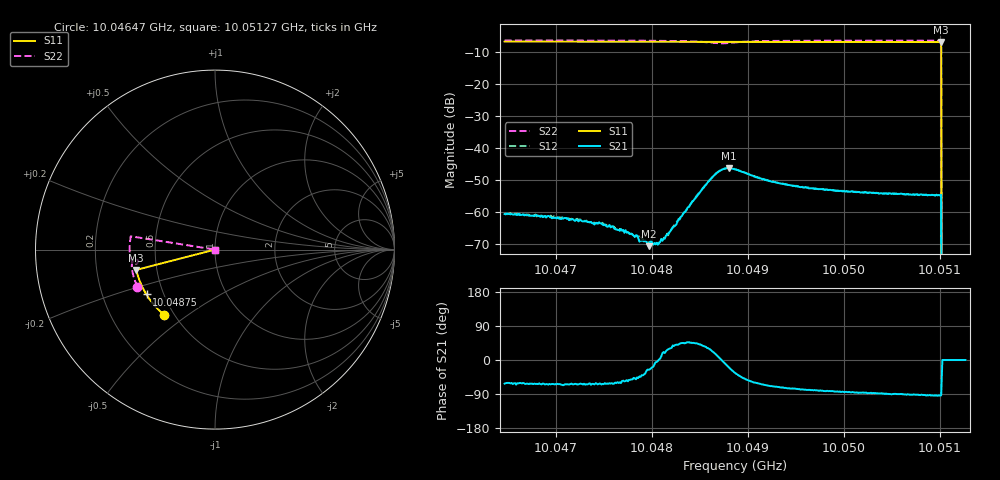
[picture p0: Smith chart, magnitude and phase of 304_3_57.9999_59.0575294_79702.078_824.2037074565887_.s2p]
#  HZ  S  RI  R  50.00
! Rohde & Schwarz Vector Network Analyzer
! Rohde-Schwarz,ZNB20-2Port,1311601062101988,3.16
! Created: UTC 3/21/2024, 1:03:55 AM
! freq[Hz]  re:S11  im:S11  re:S21  im:S21  re:S12  im:S12  re:S22  im:S22
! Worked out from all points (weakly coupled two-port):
!   401 points, 10.04647 GHz to 10.05127 GHz, reference 50 ohm
!   highest |S21| = -46.24 dB at 10.04881 GHz (marker M1); lowest = -70.6 dB at 10.04797 GHz (marker M2)
!   lowest |S11| = -6.9 dB at 10.05101 GHz (marker M3), VSWR 2.66, Z = 19.1 - j5.43 ohm
!   |S11| at or under -10 dB: 10.05101 GHz to end of sweep
!   |S22| runs from - to -6.4 dB; largest |S21 - S12| = 0.00034
!   S11 on the Smith chart (normalised r, x): 10.04647 GHz: 0.44, -0.41; 10.04875 GHz: 0.40, -0.25; 10.05127 GHz: 1.00, +0.00
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1.0046467e10  -0.2839 -0.3632  0.000434 -0.000832  0.000511 -0.000793  -0.4326 -0.2074
1.0046911e10  -0.306 -0.3437  0.000383 -0.000773  0.000437 -0.000743  -0.4439 -0.1797
1.0047271e10  -0.3228 -0.3268  0.000329 -0.000651  0.000377 -0.000675  -0.4518 -0.1561
1.0047451e10  -0.3308 -0.3181  0.000323 -0.000616  0.000343 -0.000576  -0.4554 -0.1443
1.0047703e10  -0.3418 -0.3055  0.000307 -0.000431  0.000295 -0.000419  -0.4594 -0.1267
1.0047871e10  -0.3489 -0.2968  0.000253 -0.000237  0.000324 -0.000289  -0.4619 -0.1145
1.0047967e10  -0.3528 -0.292  0.000266 -0.000129  0.000318 -0.000124  -0.4627 -0.1074
1.0048039e10  -0.3557 -0.2882  0.000314 -3.33e-05  0.000327 -2.11e-05  -0.4632 -0.1016
1.0048075e10  -0.3571 -0.2863  0.000327 6.78e-06  0.000342 4.26e-05  -0.4635 -0.0987
1.0048171e10  -0.3609 -0.2814  0.00041 0.000221  0.00038 0.000215  -0.4637 -0.0908
1.0048603e10  -0.3769 -0.2577  0.00277 0.00152  0.00271 0.00167  -0.443 -0.0541
1.0048675e10  -0.3792 -0.2537  0.00397 0.000923  0.00393 0.00121  -0.433 -0.0564
1.0048747e10  -0.3816 -0.2498  0.00471 -0.000408  0.00475 -0.000128  -0.4282 -0.0662
1.0048807e10  -0.3837 -0.2467  0.00456 -0.00173  0.00469 -0.00147  -0.4321 -0.0743
1.0048867e10  -0.3858 -0.2433  0.00387 -0.00262  0.00406 -0.00238  -0.44 -0.0782
1.0049251e10  -0.3983 -0.2214  0.00106 -0.00279  0.00125 -0.00278  -0.469 -0.0513
1.0049671e10  -0.4103 -0.1965  0.000444 -0.00232  0.000565 -0.00233  -0.4748 -0.0181
1.0050474e10  -0.4292 -0.1472  2.12e-05 -0.00197  0.000142 -0.00199  -0.4742 0.0384
1.005099e10  -0.4382 -0.1147  -0.000119 -0.00185  -2.77e-05 -0.00186  -0.4699 0.0727
1.0051014e10  -0.4386 -0.1131  -0.0001 -0.00186  -5.18e-05 -0.00185  -0.4695 0.0741
1.005105e10  0 0  0 0  0 0  0 0
1.0051266e10  0 0  0 0  0 0  0 0
